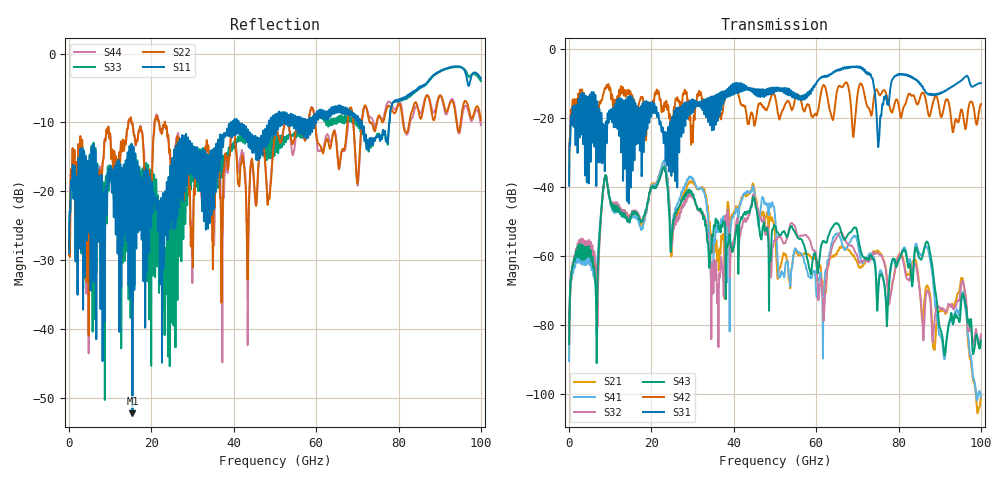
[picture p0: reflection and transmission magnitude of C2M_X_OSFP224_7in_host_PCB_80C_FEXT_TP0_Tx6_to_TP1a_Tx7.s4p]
# GHz S RI R 45
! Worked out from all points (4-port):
!   4000 points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, 25 MHz to 100 GHz, reference 45 ohm
!   strongest paths, dB at 25 MHz, 25.02 GHz, 50.02 GHz, 75.03 GHz, 100 GHz:
!     S31: -39.6, -20.3, -11.2, -28.0, -9.8
!     S42: -38.6, -22.1, -13.7, -12.5, -15.9
!     S43: -85.5, -53.4, -51.5, -71.4, -84.4
!     S32: -84.8, -56.9, -55.4, -59.2, -82.6
!     S41: -90.4, -52.0, -48.6, -69.5, -100.9
!     S21: -88.8, -55.7, -53.8, -58.5, -100.5
!   lowest |S11| = -52.2 dB at 15.4 GHz (marker M1), VSWR 1.00, Z = 45.2 + j0.0662 ohm
!   |S11| at or under -10 dB: start of sweep to 39.26 GHz; 41.18 GHz to 48.51 GHz (7.329 GHz wide, 16.3 % of centre); 71.11 GHz to 77.79 GHz (6.674 GHz wide, 8.96 % of centre)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
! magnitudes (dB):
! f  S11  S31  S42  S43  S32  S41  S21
! 25 MHz  -29.0  -39.6  -38.6  -85.5  -84.8  -90.4  -88.8
! 6.65 GHz  -29.3  -29.0  -19.5  -81.1  -64.7  -65.6  -68.7
! 8.775 GHz  -23.1  -26.6  -11.4  -36.7  -36.9  -37.0  -37.1
! 15.4 GHz  -52.2  -35.2  -13.6  -47.1  -46.8  -47.7  -46.9
! 36.27 GHz  -12.5  -13.0  -18.3  -51.7  -86.4  -52.9  -60.7
! 44.6 GHz  -14.0  -12.6  -19.0  -43.2  -42.4  -39.7  -39.0
! 100 GHz  -3.6  -9.8  -15.9  -84.4  -82.6  -100.9  -100.5
